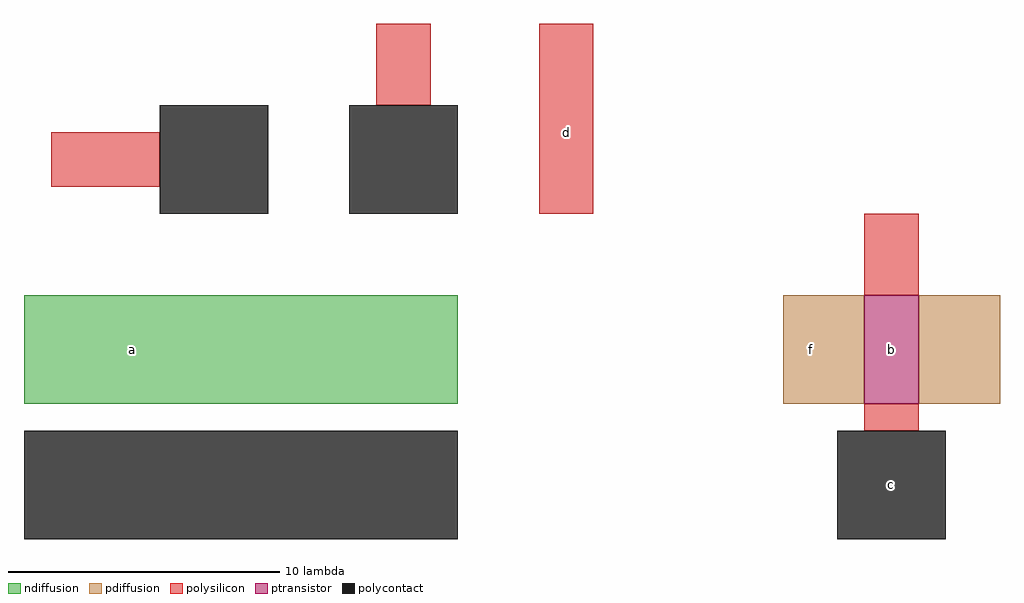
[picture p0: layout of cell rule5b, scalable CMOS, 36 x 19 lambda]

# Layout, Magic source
magic
tech scmos
<< polysilicon >>
rect 13 16 15 19
rect 1 13 5 15
rect 19 12 21 19
rect 31 9 33 12
rect 31 4 33 5
<< ndiffusion >>
rect 0 5 16 9
<< pdiffusion >>
rect 28 5 31 9
rect 33 5 36 9
<< ptransistor >>
rect 31 5 33 9
<< polycontact >>
rect 5 12 9 16
rect 12 12 16 16
rect 0 0 16 4
rect 30 0 34 4
<< labels >>
rlabel ndiffusion 4 7 4 7 1 a
rlabel ptransistor 32 7 32 7 1 b
rlabel polycontact 32 2 32 2 1 c
rlabel pdiffusion 29 7 29 7 1 f
rlabel polysilicon 20 15 20 15 1 d
<< end >>
